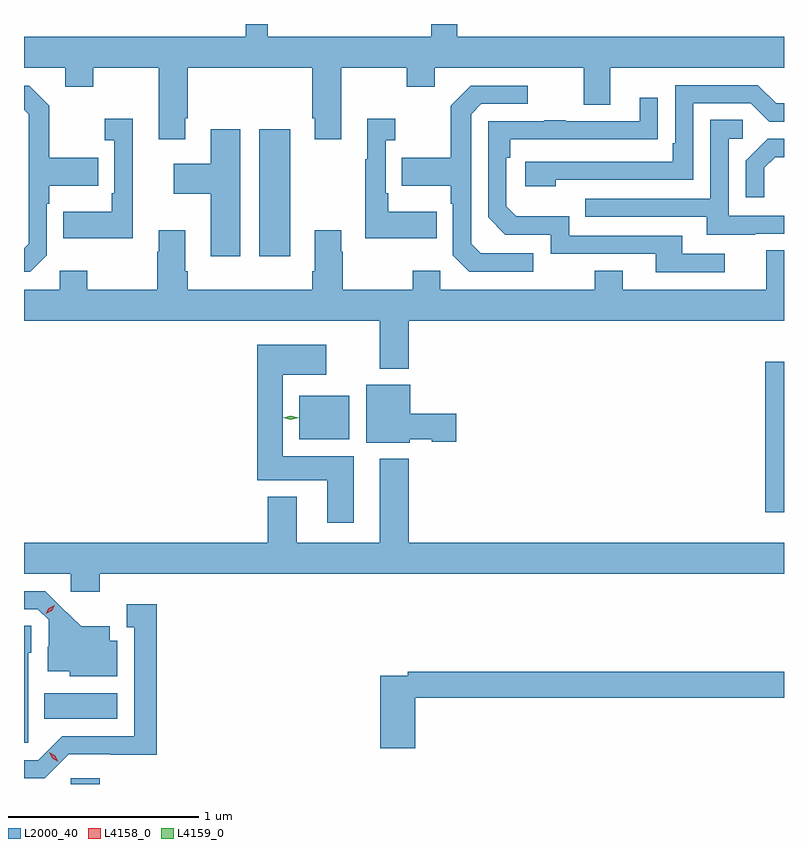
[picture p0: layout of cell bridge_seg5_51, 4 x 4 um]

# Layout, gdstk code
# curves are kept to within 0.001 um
import gdstk
lib = gdstk.Library(unit=1e-6, precision=1e-09)
def R(c, l, rs):  # rectangles x0, y0, x1, y1
    for r in rs: c.add(gdstk.rectangle(r[:2], r[2:], *l))
def P(c, l, *ps):  # polygons
    for p in ps: c.add(gdstk.Polygon(p, *l))
L2000_40 = (2000, 40)
L4158_0 = (4158, 0)
L4159_0 = (4159, 0)

bridge_seg5_51 = lib.new_cell('bridge_seg5_51')
R(bridge_seg5_51, L2000_40, [(793.74,907.602,793.892,907.633), (793.6,907.946,793.984,908.08), (797.394,909.033,797.493,909.824), (794.942,909.416,795.205,909.646), (794.732,910.38,794.893,911.047)])
P(bridge_seg5_51, L2000_40, [(794.341,911.107),(794.354,911.107),(794.354,911.372),(795.011,911.372),(795.011,911.107),(795.023,911.107),(795.023,910.995),(795.163,910.995),(795.163,911.372),(795.508,911.372),(795.508,911.273),(795.655,911.273),(795.655,911.372),(796.439,911.372),(796.439,911.178),(796.579,911.178),(796.579,911.372),(797.493,911.372),(797.493,911.536),(795.773,911.536),(795.773,911.602),(795.637,911.602),(795.637,911.536),(794.777,911.536),(794.777,911.602),(794.66,911.602),(794.66,911.536),(793.493,911.536),(793.493,911.372),(793.709,911.372),(793.709,911.273),(793.857,911.273),(793.857,911.372),(794.201,911.372),(794.201,910.995),(794.341,910.995)],
  [(796.292,910.782),(797.016,910.782),(797.016,911.184),(797.319,911.184),(797.415,911.088),(797.493,911.088),(797.493,911.184),(797.451,911.184),(797.355,911.28),(796.92,911.28),(796.92,910.975),(796.907,910.975),(796.907,910.878),(796.131,910.878),(796.131,910.748),(796.292,910.748)],
  [(793.614,910.386),(793.614,910.655),(793.627,910.655),(793.627,910.751),(793.883,910.751),(793.883,910.899),(793.627,910.899),(793.627,911.171),(793.521,911.277),(793.493,911.277),(793.493,911.152),(793.518,911.127),(793.518,910.446),(793.493,910.421),(793.493,910.299),(793.527,910.299)],
  [(796.174,910.395),(795.897,910.395),(795.846,910.446),(795.846,911.127),(795.9,911.181),(796.144,911.181),(796.144,911.277),(795.843,911.277),(795.738,911.171),(795.738,910.899),(795.481,910.899),(795.481,910.751),(795.738,910.751),(795.738,910.655),(795.75,910.655),(795.75,910.386),(795.837,910.299),(796.174,910.299)],
  [(797.182,910.392),(796.957,910.392),(796.957,910.488),(796.362,910.488),(796.362,910.591),(796.085,910.591),(796.032,910.644),(796.032,910.898),(796.052,910.898),(796.052,910.995),(796.829,910.996),(796.829,911.215),(796.733,911.215),(796.733,911.091),(796.343,911.091),(796.343,911.096),(796.231,911.096),(796.231,911.091),(795.936,911.091),(795.936,910.584),(796.026,910.494),(796.266,910.494),(796.266,910.392),(796.817,910.392),(796.817,910.296),(797.182,910.296)],
  [(795.665,910.615),(795.409,910.615),(795.409,910.711),(795.396,910.711),(795.396,910.991),(795.448,910.991),(795.448,911.104),(795.299,911.104),(795.299,910.891),(795.288,910.891),(795.288,910.475),(795.665,910.475)],
  [(794.066,911.104),(793.917,911.104),(793.917,910.991),(793.968,910.991),(793.968,910.711),(793.956,910.711),(793.956,910.615),(793.699,910.615),(793.699,910.475),(794.066,910.475)],
  [(797.341,910.497),(797.493,910.497),(797.493,910.593),(797.202,910.593),(797.202,910.998),(797.275,910.998),(797.275,911.099),(797.106,911.099),(797.106,910.683),(796.447,910.683),(796.447,910.587),(797.087,910.587),(797.087,910.493),(797.341,910.493)],
  [(794.632,911.047),(794.477,911.047),(794.477,910.867),(794.28,910.867),(794.28,910.709),(794.477,910.709),(794.477,910.38),(794.632,910.38)],
  [(797.389,910.845),(797.446,910.902),(797.493,910.902),(797.493,910.998),(797.408,910.998),(797.292,910.882),(797.292,910.689),(797.389,910.689)],
  [(795.518,910.04),(797.493,910.04),(797.493,910.412),(797.399,910.412),(797.399,910.204),(796.645,910.204),(796.645,910.303),(796.498,910.303),(796.498,910.204),(795.684,910.204),(795.684,910.303),(795.538,910.303),(795.538,910.204),(795.171,910.204),(795.171,910.403),(795.163,910.403),(795.163,910.516),(795.023,910.516),(795.023,910.3),(795.011,910.3),(795.011,910.204),(794.354,910.204),(794.354,910.3),(794.341,910.3),(794.341,910.516),(794.201,910.516),(794.201,910.403),(794.194,910.403),(794.194,910.204),(793.827,910.204),(793.827,910.303),(793.68,910.303),(793.68,910.204),(793.493,910.204),(793.493,910.04),(795.365,910.04),(795.365,909.788),(795.518,909.788)],
  [(795.229,909.328),(794.854,909.328),(794.854,909.755),(795.085,909.755),(795.085,909.913),(794.72,909.913),(794.72,909.2),(795.089,909.2),(795.089,908.976),(795.229,908.976)],
  [(795.522,909.416),(795.639,909.416),(795.639,909.404),(795.769,909.404),(795.769,909.551),(795.526,909.551),(795.526,909.703),(795.293,909.703),(795.293,909.398),(795.522,909.398)],
  [(793.892,908.708),(797.493,908.708),(797.493,908.872),(795.518,908.872),(795.518,909.313),(795.365,909.313),(795.365,908.872),(794.929,908.872),(794.929,909.115),(794.777,909.115),(794.777,908.872),(793.493,908.872),(793.493,908.708),(793.74,908.708),(793.74,908.613),(793.892,908.613)],
  [(793.984,908.355),(793.945,908.355),(793.945,908.431),(793.793,908.431),(793.606,908.616),(793.493,908.616),(793.493,908.523),(793.566,908.523),(793.623,908.466),(793.623,908.324),(793.619,908.324),(793.619,908.195),(793.734,908.195),(793.734,908.168),(793.984,908.168)],
  [(793.728,907.758),(794.191,907.757),(794.191,908.548),(794.033,908.548),(794.033,908.427),(794.072,908.427),(794.072,907.854),(793.695,907.854),(793.569,907.728),(793.493,907.728),(793.493,907.632),(793.602,907.632)],
  [(793.515,908.292),(793.53,908.292),(793.53,908.435),(793.493,908.435),(793.493,907.818),(793.515,907.818)],
  [(795.551,908.056),(797.493,908.056),(797.493,908.192),(795.514,908.192),(795.514,908.172),(795.368,908.172),(795.368,907.791),(795.551,907.791)])
P(bridge_seg5_51, L4158_0, [(793.607,908.498),(793.607,908.498),(793.624,908.528),(793.655,908.544),(793.655,908.544),(793.655,908.543),(793.638,908.514),(793.608,908.498)],
  [(793.674,907.719),(793.642,907.738),(793.625,907.77),(793.625,907.77),(793.625,907.77),(793.657,907.751),(793.674,907.719),(793.674,907.719)])
P(bridge_seg5_51, L4159_0, [(794.898,909.519),(794.857,909.529),(794.857,909.529),(794.857,909.53),(794.898,909.539),(794.938,909.53),(794.938,909.529),(794.938,909.529)])

lib.write_gds('bridge_seg5_51.gds')
